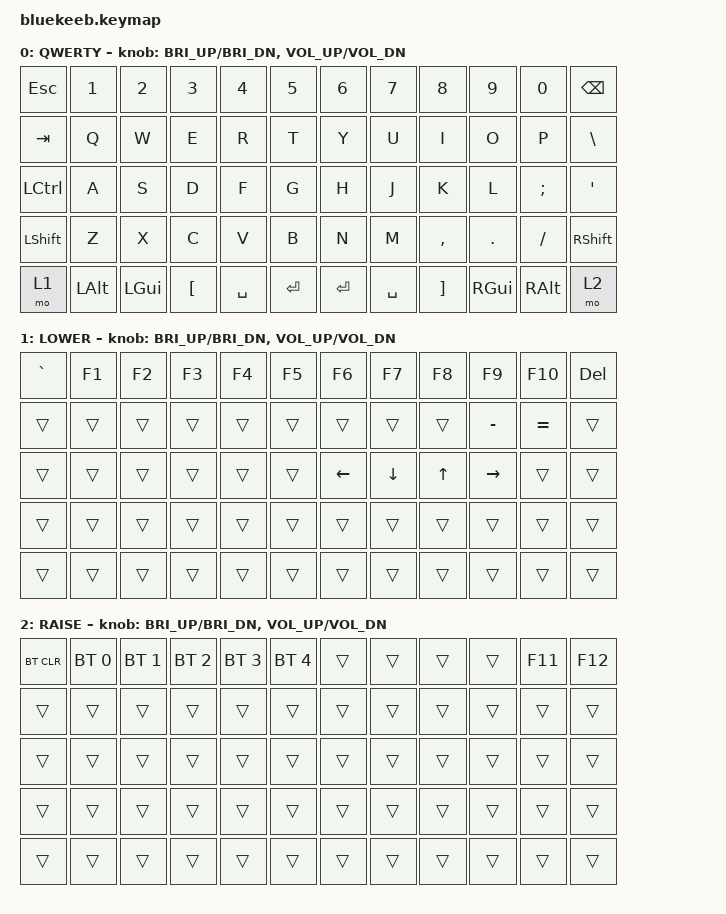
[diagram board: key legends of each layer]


#include <behaviors.dtsi>
#include <dt-bindings/zmk/keys.h>
#include <dt-bindings/zmk/bt.h>

/ {
    keymap {
        compatible = "zmk,keymap";

        default_layer {
            label = "QWERTY";
            bindings = <
                &kp ESC    &kp N1   &kp N2   &kp N3   &kp N4   &kp N5      &kp N6   &kp N7   &kp N8    &kp N9   &kp N0    &kp BSPC
                &kp TAB    &kp Q    &kp W    &kp E    &kp R    &kp T       &kp Y    &kp U    &kp I     &kp O    &kp P     &kp BSLH
                &kp LCTRL  &kp A    &kp S    &kp D    &kp F    &kp G       &kp H    &kp J    &kp K     &kp L    &kp SEMI  &kp SQT
                &kp LSHFT  &kp Z    &kp X    &kp C    &kp V    &kp B       &kp N    &kp M    &kp COMMA &kp DOT  &kp SLASH &kp RSHFT
                &mo 1      &kp LALT &kp LGUI &kp LBKT &kp SPACE &kp RET   &kp RET  &kp SPACE &kp RBKT &kp RGUI &kp RALT  &mo 2
            >;
            sensor-bindings = <&inc_dec_kp C_BRI_UP C_BRI_DN &inc_dec_kp C_VOL_UP C_VOL_DN>;
        };

        lower_layer {
            label = "LOWER";
            bindings = <
                &kp GRAVE  &kp F1   &kp F2   &kp F3   &kp F4   &kp F5      &kp F6   &kp F7   &kp F8    &kp F9   &kp F10   &kp DEL
                &trans     &trans   &trans   &trans   &trans   &trans      &trans   &trans   &trans    &kp MINUS &kp EQUAL &trans
                &trans     &trans   &trans   &trans   &trans   &trans      &kp LEFT &kp DOWN &kp UP    &kp RIGHT &trans    &trans
                &trans     &trans   &trans   &trans   &trans   &trans      &trans   &trans   &trans    &trans   &trans    &trans
                &trans     &trans   &trans   &trans   &trans   &trans      &trans   &trans   &trans    &trans   &trans    &trans
            >;
            sensor-bindings = <&inc_dec_kp C_BRI_UP C_BRI_DN &inc_dec_kp C_VOL_UP C_VOL_DN>;
        };

        raise_layer {
            label = "RAISE";
            bindings = <
                &bt BT_CLR &bt BT_SEL 0 &bt BT_SEL 1 &bt BT_SEL 2 &bt BT_SEL 3 &bt BT_SEL 4   &trans &trans &trans &trans &kp F11 &kp F12
                &trans     &trans       &trans        &trans        &trans        &trans          &trans &trans &trans &trans &trans  &trans
                &trans     &trans       &trans        &trans        &trans        &trans          &trans &trans &trans &trans &trans  &trans
                &trans     &trans       &trans        &trans        &trans        &trans          &trans &trans &trans &trans &trans  &trans
                &trans     &trans       &trans        &trans        &trans        &trans          &trans &trans &trans &trans &trans  &trans
            >;
            sensor-bindings = <&inc_dec_kp C_BRI_UP C_BRI_DN &inc_dec_kp C_VOL_UP C_VOL_DN>;
        };
    };
};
